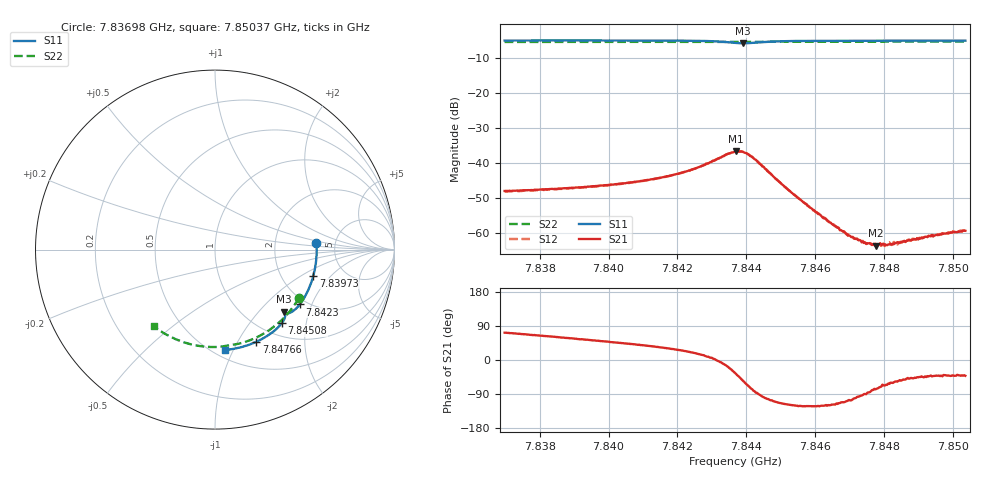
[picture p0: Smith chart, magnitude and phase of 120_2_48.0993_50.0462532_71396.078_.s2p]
#  HZ  S  RI  R  50.00
! Rohde & Schwarz Vector Network Analyzer
! Rohde-Schwarz,ZNB20-2Port,1311601062101988,3.16
! Created: UTC 12/23/2023, 3:46:40 AM
! freq[Hz]  re:S11  im:S11  re:S21  im:S21  re:S12  im:S12  re:S22  im:S22
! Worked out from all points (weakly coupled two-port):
!   401 points, 7.83698 GHz to 7.85037 GHz, reference 50 ohm
!   highest |S21| = -36.70 dB at 7.84371 GHz (marker M1); lowest = -63.8 dB at 7.84776 GHz (marker M2)
!   lowest |S11| = -5.7 dB at 7.84391 GHz (marker M3), VSWR 3.14, Z = 73.2 - j69.2 ohm
!   |S11| at or under -10 dB: nowhere
!   |S22| runs from -5.4 to -5.3 dB; largest |S21 - S12| = 0.00031
!   S11 on the Smith chart (normalised r, x): 7.83698 GHz: 3.56, +0.39; 7.83973 GHz: 3.01, -1.29; 7.8423 GHz: 1.84, -1.64; 7.84508 GHz: 1.24, -1.46; 7.84766 GHz: 0.80, -1.20; 7.85037 GHz: 0.57, -0.93
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7.83698e9  0.5649 0.0369  0.00122 0.00376  0.00124 0.00369  0.4677 -0.2689
7.839223e9  0.5557 -0.1118  0.00257 0.00366  0.00257 0.00362  0.3714 -0.3926
7.839725e9  0.5481 -0.1447  0.00299 0.00362  0.00293 0.0036  0.3451 -0.416
7.841466e9  0.5045 -0.2553  0.00506 0.00337  0.00499 0.0034  0.2434 -0.4832
7.842303e9  0.4721 -0.3058  0.00708 0.00289  0.00706 0.00294  0.1895 -0.507
7.843174e9  0.4217 -0.3504  0.0115 -0.000463  0.0115 -0.000406  0.1308 -0.5245
7.843676e9  0.387 -0.3529  0.0121 -0.0081  0.012 -0.00805  0.0972 -0.5303
7.843709e9  0.3855 -0.3519  0.0117 -0.00877  0.0117 -0.00855  0.0951 -0.5307
7.84391e9  0.383 -0.3467  0.00821 -0.0117  0.00826 -0.0118  0.0825 -0.5325
7.844211e9  0.39 -0.3513  0.0018 -0.0115  0.00202 -0.0116  0.0631 -0.5365
7.845082e9  0.374 -0.4075  -0.00204 -0.00428  -0.00204 -0.00428  0.00246 -0.5426
7.845919e9  0.3323 -0.4509  -0.00116 -0.00185  -0.00118 -0.00186  -0.0564 -0.5406
7.84699e9  0.2714 -0.4926  -0.000243 -0.000879  -0.000264 -0.000883  -0.1308 -0.5284
7.847425e9  0.2453 -0.5065  2.52e-06 -0.00071  2.32e-05 -0.000718  -0.1603 -0.5204
7.84766e9  0.2311 -0.5133  0.000125 -0.000659  7.36e-05 -0.000659  -0.176 -0.5155
7.84776e9  0.2248 -0.516  0.00014 -0.000632  0.000163 -0.000673  -0.1827 -0.5132
7.847961e9  0.2124 -0.5214  0.000292 -0.00062  0.00021 -0.000655  -0.196 -0.5085
7.848162e9  0.2 -0.5263  0.000309 -0.000607  0.000347 -0.000636  -0.2091 -0.5033
7.848396e9  0.1851 -0.5317  0.000397 -0.000614  0.000365 -0.00057  -0.2241 -0.4969
7.84863e9  0.1703 -0.5366  0.000456 -0.000573  0.000471 -0.000607  -0.2391 -0.4899
7.849769e9  0.0965 -0.5543  0.000747 -0.000624  0.000753 -0.00064  -0.3083 -0.4504
7.850371e9  0.0568 -0.5597  0.000795 -0.000707  0.000815 -0.000701  -0.3425 -0.4254
